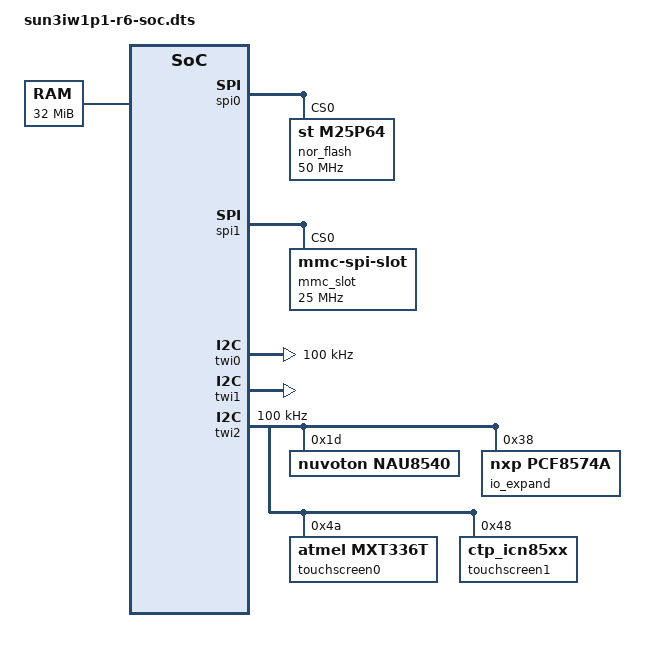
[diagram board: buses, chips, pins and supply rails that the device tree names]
/*
 * Allwinner Technology CO., Ltd. sun3iw1p1 evb board.
 *
 * evb board support.
 */

/dts-v1/;
#include "sun3iw1p1-r6.dtsi"

/ {

  memory@80000000 {
		reg = <0x00000000 0x80000000 0x00000000 0x2000000>;
	};

	soc: soc {
		spi0: spi@01c05000 {
			interrupts = <10>;
			status = "okay";

			nor_flash@0 {
				#address-cells = <1>;
				#size-cells = <1>;
				compatible = "st,m25p64";
				spi-max-frequency = <50000000>;
				reg = <0>;	/* Chip select 0 */
			};
		};

		spi1: spi@01c06000 {
			interrupts = <11>;
			status = "okay";

			mmc_slot: mmc-slot@0 {
				#address-cells = <1>;
				#size-cells = <1>;
				compatible = "mmc-spi-slot";
				spi-max-frequency = <25000000>;
				device_type = "mmc-spi";
				reg = <0>;	/* Chip select 0 */
				voltage-ranges = <3300 3300>;
			};
		};

		twi0: twi@0x01c27000{
			clock-frequency = <100000>;
			status = "okay";
		};

		twi1: twi@0x01c27400{
			interrupts = <8>;
			status = "okay";
		};

		twi2: twi@0x01c27800{
			clock-frequency = <100000>;
			status = "okay";

			nau8540@1d{
				compatible = "nuvoton,nau8540";
				i2c-max-frequency = <100000>;
				reg = <0x1d>;
            		};
			io_expand: io_expand@0x38 {
				compatible = "nxp,pcf8574a";
				i2c-max-frequency = <100000>;
				reg = <0x38>;
			};
			touchscreen0: touchscreen0@0x4A {
				compatible = "atmel,mxt336t";
				reg = <0x4A>;
				atmel,suspend_mode = <0>;
			};
			touchscreen1: touchscreen1@0x48 {
				compatible = "ctp_icn85xx";
				reg = <0x48>;
			};
		};
	};

};
